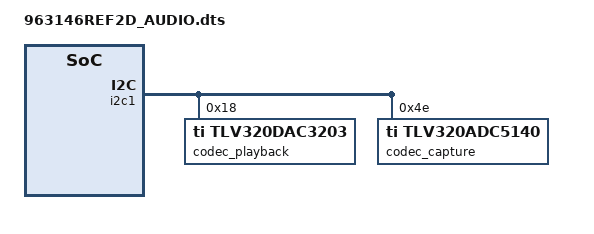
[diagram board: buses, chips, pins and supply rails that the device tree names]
#include "963146REF2D.dts"

&i2c1 {
	pinctrl-names="default";
	pinctrl-0 = <&b_i2c1_sclk_pin_53 &b_i2c1_sdata_pin_54>;
	status = "okay";

	#address-cells = <1>;
	#size-cells = <0>;
	codec_playback:codec_palyback@18{
		compatible = "ti,tlv320dac3203";
		reg = <0x18>;
	};
	codec_capture:codec_capture@4e{
		compatible = "ti,tlv320adc5140";
		reg = <0x4e>;
	};
};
